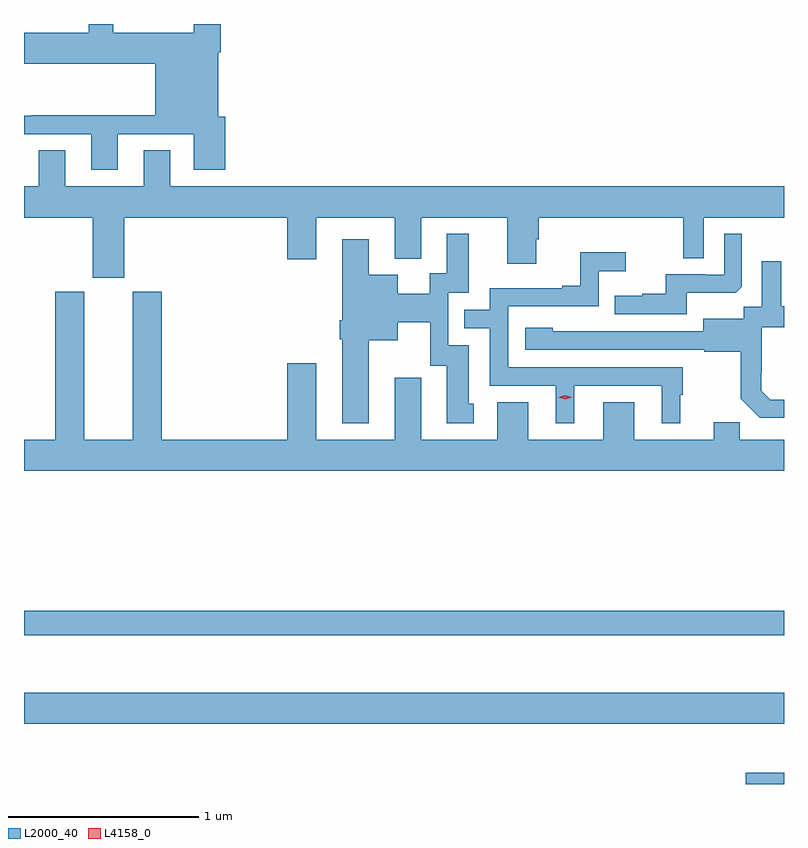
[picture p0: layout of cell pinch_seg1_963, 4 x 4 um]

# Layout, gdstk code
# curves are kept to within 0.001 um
import gdstk
lib = gdstk.Library(unit=1e-6, precision=1e-09)
def R(c, l, rs):  # rectangles x0, y0, x1, y1
    for r in rs: c.add(gdstk.rectangle(r[:2], r[2:], *l))
def P(c, l, *ps):  # polygons
    for p in ps: c.add(gdstk.Polygon(p, *l))
L2000_40 = (2000, 40)
L4158_0 = (4158, 0)

pinch_seg1_963 = lib.new_cell('pinch_seg1_963')
R(pinch_seg1_963, L2000_40, [(294.54,534.099,294.741,534.157), (290.741,534.416,294.741,534.58), (290.741,534.882,294.741,535.01)])
P(pinch_seg1_963, L2000_40, [(291.235,537.519),(291.635,537.519),(291.635,537.333),(291.8,537.333),(291.8,537.612),(291.763,537.612),(291.763,537.95),(291.776,537.95),(291.776,538.099),(291.635,538.099),(291.635,538.054),(291.211,538.054),(291.211,538.099),(291.083,538.099),(291.083,538.054),(290.741,538.054),(290.741,537.89),(291.431,537.89),(291.431,537.62),(290.779,537.62),(290.779,537.616),(290.741,537.616),(290.741,537.519),(291.095,537.519),(291.095,537.333),(291.235,537.333)],
  [(292.127,536.862),(292.279,536.862),(292.279,537.08),(292.691,537.08),(292.691,536.864),(292.831,536.864),(292.831,537.08),(293.285,537.08),(293.285,536.838),(293.437,536.838),(293.437,536.967),(293.45,536.967),(293.45,537.08),(294.21,537.08),(294.21,536.866),(294.318,536.866),(294.318,537.08),(294.741,537.08),(294.741,537.244),(291.511,537.244),(291.511,537.434),(291.371,537.434),(291.371,537.244),(290.959,537.244),(290.959,537.434),(290.819,537.434),(290.819,537.244),(290.741,537.244),(290.741,537.08),(291.104,537.08),(291.104,536.763),(291.268,536.763),(291.268,537.08),(292.127,537.08)],
  [(294.229,536.684),(294.487,536.684),(294.519,536.715),(294.519,536.995),(294.426,536.995),(294.426,536.778),(294.326,536.778),(294.326,536.781),(294.119,536.781),(294.119,536.68),(293.995,536.68),(293.995,536.668),(293.851,536.668),(293.851,536.571),(294.229,536.571)],
  [(292.555,536.435),(292.708,536.435),(292.708,536.528),(292.878,536.528),(292.878,536.301),(292.967,536.301),(292.967,535.998),(293.107,535.998),(293.107,536.1),(293.083,536.1),(293.083,536.409),(292.974,536.409),(292.974,536.685),(293.083,536.685),(293.083,536.995),(292.967,536.995),(292.967,536.786),(292.877,536.786),(292.877,536.68),(292.708,536.68),(292.708,536.779),(292.555,536.779),(292.555,536.965),(292.415,536.965),(292.415,536.539),(292.403,536.539),(292.403,536.439),(292.415,536.439),(292.415,535.997),(292.555,535.997)],
  [(293.638,536.196),(294.098,536.196),(294.098,535.997),(294.196,535.997),(294.196,536.148),(294.208,536.148),(294.208,536.292),(293.289,536.292),(293.289,536.613),(293.766,536.613),(293.766,536.798),(293.908,536.798),(293.908,536.897),(293.668,536.897),(293.668,536.722),(293.573,536.722),(293.573,536.709),(293.193,536.709),(293.193,536.595),(293.059,536.595),(293.059,536.499),(293.193,536.499),(293.193,536.196),(293.54,536.196),(293.54,535.997),(293.638,535.997)],
  [(294.741,536.121),(294.669,536.121),(294.622,536.168),(294.622,536.263),(294.624,536.263),(294.624,536.504),(294.741,536.504),(294.741,536.614),(294.727,536.614),(294.727,536.851),(294.623,536.851),(294.623,536.612),(294.528,536.612),(294.528,536.548),(294.317,536.548),(294.317,536.481),(293.523,536.482),(293.523,536.5),(293.379,536.5),(293.379,536.385),(294.321,536.385),(294.321,536.373),(294.513,536.373),(294.513,536.127),(294.613,536.027),(294.741,536.027)],
  [(291.314,536.691),(291.314,535.912),(291.058,535.912),(291.058,536.691),(290.906,536.691),(290.906,535.912),(290.741,535.912),(290.741,535.748),(294.741,535.748),(294.741,535.912),(294.509,535.912),(294.509,536.003),(294.371,536.003),(294.371,535.912),(293.953,535.912),(293.953,536.107),(293.789,536.107),(293.789,535.912),(293.395,535.912),(293.395,536.107),(293.231,536.107),(293.231,535.912),(292.831,535.912),(292.831,536.236),(292.691,536.236),(292.691,535.912),(292.279,535.912),(292.279,536.314),(292.127,536.314),(292.127,535.912),(291.467,535.912),(291.467,536.691)])
P(pinch_seg1_963, L4158_0, [(293.589,536.125),(293.554,536.135),(293.553,536.135),(293.554,536.135),(293.589,536.145),(293.624,536.135),(293.625,536.135),(293.624,536.135)])

lib.write_gds('pinch_seg1_963.gds')
